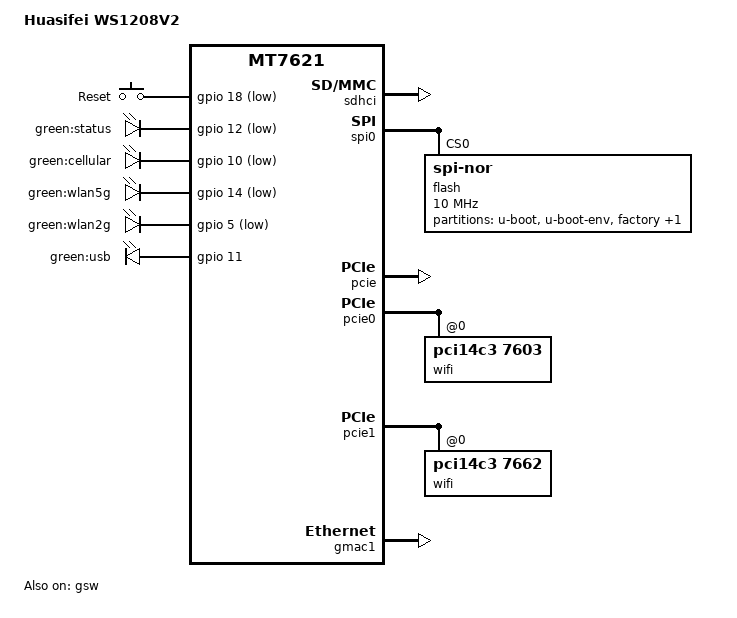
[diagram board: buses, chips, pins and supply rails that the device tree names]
#include "mt7621.dtsi"

#include <dt-bindings/gpio/gpio.h>
#include <dt-bindings/input/input.h>

/ {
	compatible = "huasifei,ws1208v2", "mediatek,mt7621-soc";
	model = "Huasifei WS1208V2";

	aliases {
		led-boot = &led_status;
		led-failsafe = &led_status;
		led-running = &led_status;
		led-upgrade = &led_status;
		label-mac-device = &gmac0;
	};

	chosen {
		bootargs = "console=ttyS0,115200";
	};

	keys {
		compatible = "gpio-keys";

		button-reset {
			label = "Reset";
			gpios = <&gpio 18 GPIO_ACTIVE_LOW>;
			linux,code = <KEY_RESTART>;
		};
	};

	leds {
		compatible = "gpio-leds";

		led_status: led-status {
			label = "green:status";
			gpios = <&gpio 12 GPIO_ACTIVE_LOW>;
		};

		led-cellular {
			label = "green:cellular";
			gpios = <&gpio 10 GPIO_ACTIVE_LOW>;
		};

		led-wlan5g {
			label = "green:wlan5g";
			gpios = <&gpio 14 GPIO_ACTIVE_LOW>;
			linux,default-trigger = "phy1tpt";
		};

		led-wlan2g {
			label = "green:wlan2g";
			gpios = <&gpio 5 GPIO_ACTIVE_LOW>;
			linux,default-trigger = "phy0tpt";
		};

		led-usb {
			label = "green:usb";
			gpios = <&gpio 11 GPIO_ACTIVE_HIGH>;
			trigger-sources = <&xhci_ehci_port1>;
			linux,default-trigger = "usbport";
		};
	};
};

&sdhci {
	status = "okay";
};

&spi0 {
	status = "okay";

	flash@0 {
		compatible = "jedec,spi-nor";
		reg = <0>;
		spi-max-frequency = <10000000>;

		partitions {
			compatible = "fixed-partitions";
			#address-cells = <1>;
			#size-cells = <1>;

			partition@0 {
				label = "u-boot";
				reg = <0x0 0x30000>;
				read-only;
			};

			partition@30000 {
				label = "u-boot-env";
				reg = <0x30000 0x10000>;
				read-only;
			};

			factory: partition@40000 {
				label = "factory";
				reg = <0x40000 0x10000>;
				read-only;

				compatible = "nvmem-cells";
				#address-cells = <1>;
				#size-cells = <1>;

				macaddr_factory_e000: macaddr@e000 {
					reg = <0xe000 0x6>;
				};
			};

			partition@50000 {
				compatible = "denx,uimage";
				reg = <0x50000 0x1fb0000>;
				label = "firmware";
			};
		};
	};
};

&pcie {
	status = "okay";
};

&pcie0 {
	wifi@0,0 {
		compatible = "pci14c3,7603";
		reg = <0x0000 0 0 0 0>;
		mediatek,mtd-eeprom = <&factory 0x0000>;
	};
};

&pcie1 {
	wifi@0,0 {
		compatible = "pci14c3,7662";
		reg = <0x0000 0 0 0 0>;
		mediatek,mtd-eeprom = <&factory 0x8000>;
		ieee80211-freq-limit = <5000000 6000000>;

		led {
			led-sources = <2>;
		};
	};
};

&gmac0 {
	mtd-mac-address = <&factory 0xe000>;
};

&gmac1 {
	mtd-mac-address = <&factory 0xe006>;
	status = "okay";
};

&gsw {
	mediatek,portmap = "llllw";
	status = "okay";
};

&hnat {
	mtketh-wan = "eth1";
	mtketh-ppd = "eth0";
	mtketh-lan = "eth0";
	mtketh-max-gmac = <2>;
	/delete-property/ mtkdsa-wan-port;
};

&switch0 {
	status = "disabled";
};
